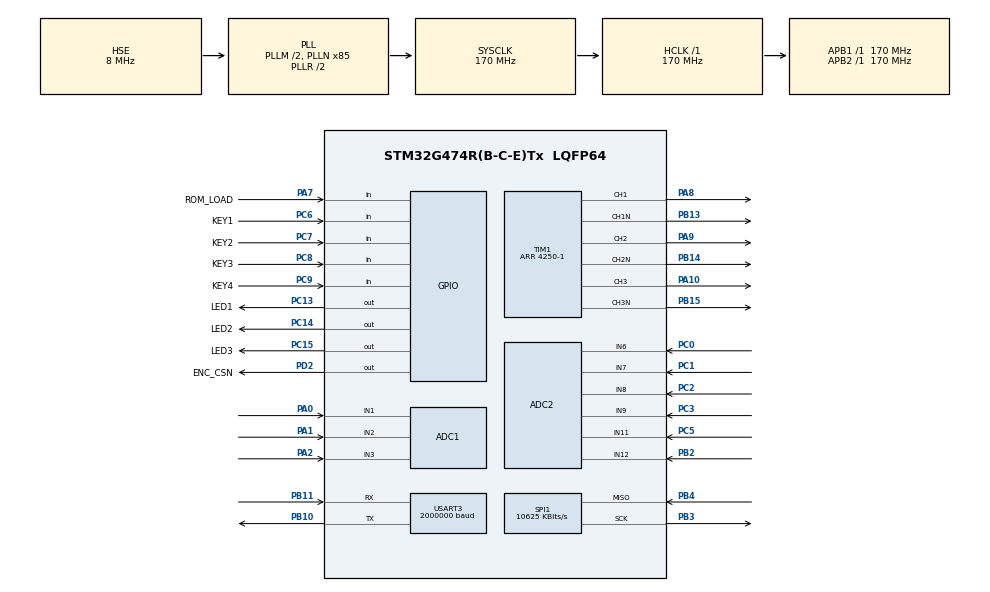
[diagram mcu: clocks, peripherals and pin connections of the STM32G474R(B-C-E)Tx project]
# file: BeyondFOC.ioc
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ADC1.Channel-0\#ChannelRegularConversion=ADC_CHANNEL_1
ADC1.Channel-1\#ChannelRegularConversion=ADC_CHANNEL_2
ADC1.Channel-2\#ChannelRegularConversion=ADC_CHANNEL_3
ADC1.ClockPrescaler=ADC_CLOCK_SYNC_PCLK_DIV4
ADC1.ContinuousConvMode=DISABLE
ADC1.DMAContinuousRequests=ENABLE
ADC1.EOCSelection=ADC_EOC_SINGLE_CONV
ADC1.ExternalTrigConv=ADC_EXTERNALTRIG_T1_TRGO
ADC1.ExternalTrigConvEdge=ADC_EXTERNALTRIGCONVEDGE_RISING
ADC1.EnableInjectedConversion=ENABLE
ADC1.ExternalTrigInjecConv=ADC_INJECTED_SOFTWARE_START
ADC1.ExternalTrigInjecConvEdge=ADC_EXTERNALTRIGINJECCONV_EDGE_NONE
ADC1.InjNumberOfConversion=3
ADC1.InjectedChannel-1\#ChannelInjectedConversion=ADC_CHANNEL_1
ADC1.InjectedChannel-2\#ChannelInjectedConversion=ADC_CHANNEL_2
ADC1.InjectedChannel-3\#ChannelInjectedConversion=ADC_CHANNEL_3
ADC1.InjectedOffsetNumber-1\#ChannelInjectedConversion=ADC_OFFSET_NONE
ADC1.InjectedOffsetNumber-2\#ChannelInjectedConversion=ADC_OFFSET_NONE
ADC1.InjectedOffsetNumber-3\#ChannelInjectedConversion=ADC_OFFSET_NONE
ADC1.InjectedRank-1\#ChannelInjectedConversion=1
ADC1.InjectedRank-2\#ChannelInjectedConversion=2
ADC1.InjectedRank-3\#ChannelInjectedConversion=3
ADC1.InjectedSamplingTime-1\#ChannelInjectedConversion=ADC_SAMPLETIME_24CYCLES_5
ADC1.InjectedSamplingTime-2\#ChannelInjectedConversion=ADC_SAMPLETIME_24CYCLES_5
ADC1.InjectedSamplingTime-3\#ChannelInjectedConversion=ADC_SAMPLETIME_24CYCLES_5
ADC1.Mode=ADC_MODE_INDEPENDENT
ADC1.injectedQueueMode=DISABLE
ADC1.NbrOfConversion=3
ADC1.NbrOfConversionFlag=1
ADC1.OffsetNumber-0\#ChannelRegularConversion=ADC_OFFSET_NONE
ADC1.OffsetNumber-1\#ChannelRegularConversion=ADC_OFFSET_NONE
ADC1.OffsetNumber-2\#ChannelRegularConversion=ADC_OFFSET_NONE
ADC1.Overrun=ADC_OVR_DATA_OVERWRITTEN
ADC1.Rank-0\#ChannelRegularConversion=1
ADC1.Rank-1\#ChannelRegularConversion=2
ADC1.Rank-2\#ChannelRegularConversion=3
ADC1.SamplingTime-0\#ChannelRegularConversion=ADC_SAMPLETIME_6CYCLES_5
ADC1.SamplingTime-1\#ChannelRegularConversion=ADC_SAMPLETIME_6CYCLES_5
ADC1.SamplingTime-2\#ChannelRegularConversion=ADC_SAMPLETIME_6CYCLES_5
ADC1.ScanConvMode=ADC_SCAN_ENABLE
ADC2.Channel-0\#ChannelRegularConversion=ADC_CHANNEL_11
ADC2.Channel-1\#ChannelRegularConversion=ADC_CHANNEL_12
ADC2.Channel-2\#ChannelRegularConversion=ADC_CHANNEL_9
ADC2.Channel-3\#ChannelRegularConversion=ADC_CHANNEL_6
ADC2.Channel-4\#ChannelRegularConversion=ADC_CHANNEL_7
ADC2.Channel-5\#ChannelRegularConversion=ADC_CHANNEL_8
ADC2.ClockPrescaler=ADC_CLOCK_SYNC_PCLK_DIV4
ADC2.NbrOfConversion=6
ADC2.NbrOfConversionFlag=1
ADC2.OffsetNumber-0\#ChannelRegularConversion=ADC_OFFSET_NONE
ADC2.OffsetNumber-1\#ChannelRegularConversion=ADC_OFFSET_NONE
ADC2.OffsetNumber-2\#ChannelRegularConversion=ADC_OFFSET_NONE
ADC2.OffsetNumber-3\#ChannelRegularConversion=ADC_OFFSET_NONE
ADC2.OffsetNumber-4\#ChannelRegularConversion=ADC_OFFSET_NONE
ADC2.OffsetNumber-5\#ChannelRegularConversion=ADC_OFFSET_NONE
ADC2.Rank-0\#ChannelRegularConversion=1
ADC2.Rank-1\#ChannelRegularConversion=2
ADC2.Rank-2\#ChannelRegularConversion=3
ADC2.Rank-3\#ChannelRegularConversion=4
ADC2.Rank-4\#ChannelRegularConversion=5
ADC2.Rank-5\#ChannelRegularConversion=6
ADC2.SamplingTime-0\#ChannelRegularConversion=ADC_SAMPLETIME_47CYCLES_5
ADC2.SamplingTime-1\#ChannelRegularConversion=ADC_SAMPLETIME_47CYCLES_5
ADC2.SamplingTime-2\#ChannelRegularConversion=ADC_SAMPLETIME_47CYCLES_5
ADC2.SamplingTime-3\#ChannelRegularConversion=ADC_SAMPLETIME_47CYCLES_5
ADC2.SamplingTime-4\#ChannelRegularConversion=ADC_SAMPLETIME_47CYCLES_5
ADC2.SamplingTime-5\#ChannelRegularConversion=ADC_SAMPLETIME_47CYCLES_5
ADC2.ScanConvMode=ADC_SCAN_ENABLE
Dma.Request0=SPI1_RX
Dma.Request1=SPI1_TX
Dma.Request2=USART3_RX
Dma.Request3=USART3_TX
Dma.SPI1_RX.0.Direction=DMA_PERIPH_TO_MEMORY
Dma.SPI1_RX.0.EventEnable=DISABLE
Dma.SPI1_RX.0.Instance=DMA1_Channel1
Dma.SPI1_RX.0.MemDataAlignment=DMA_MDATAALIGN_BYTE
Dma.SPI1_RX.0.MemInc=DMA_MINC_ENABLE
Dma.SPI1_RX.0.Mode=DMA_NORMAL
Dma.SPI1_RX.0.PeriphDataAlignment=DMA_PDATAALIGN_BYTE
Dma.SPI1_RX.0.PeriphInc=DMA_PINC_DISABLE
Dma.SPI1_RX.0.Polarity=HAL_DMAMUX_REQ_GEN_RISING
Dma.SPI1_RX.0.Priority=DMA_PRIORITY_HIGH
Dma.SPI1_RX.0.RequestNumber=1
Dma.SPI1_RX.0.SignalID=NONE
Dma.SPI1_RX.0.SyncEnable=DISABLE
Dma.SPI1_RX.0.SyncPolarity=HAL_DMAMUX_SYNC_NO_EVENT
Dma.SPI1_RX.0.SyncRequestNumber=1
Dma.SPI1_RX.0.SyncSignalID=NONE
Dma.SPI1_TX.1.Direction=DMA_MEMORY_TO_PERIPH
Dma.SPI1_TX.1.EventEnable=DISABLE
Dma.SPI1_TX.1.Instance=DMA1_Channel2
Dma.SPI1_TX.1.MemDataAlignment=DMA_MDATAALIGN_BYTE
Dma.SPI1_TX.1.MemInc=DMA_MINC_ENABLE
Dma.SPI1_TX.1.Mode=DMA_NORMAL
Dma.SPI1_TX.1.PeriphDataAlignment=DMA_PDATAALIGN_BYTE
Dma.SPI1_TX.1.PeriphInc=DMA_PINC_DISABLE
Dma.SPI1_TX.1.Polarity=HAL_DMAMUX_REQ_GEN_RISING
Dma.SPI1_TX.1.Priority=DMA_PRIORITY_HIGH
Dma.SPI1_TX.1.RequestNumber=1
Dma.SPI1_TX.1.SignalID=NONE
Dma.SPI1_TX.1.SyncEnable=DISABLE
Dma.SPI1_TX.1.SyncPolarity=HAL_DMAMUX_SYNC_NO_EVENT
Dma.SPI1_TX.1.SyncRequestNumber=1
Dma.SPI1_TX.1.SyncSignalID=NONE
Dma.USART3_RX.2.Direction=DMA_PERIPH_TO_MEMORY
Dma.USART3_RX.2.EventEnable=DISABLE
Dma.USART3_RX.2.Instance=DMA1_Channel3
Dma.USART3_RX.2.MemDataAlignment=DMA_MDATAALIGN_BYTE
Dma.USART3_RX.2.MemInc=DMA_MINC_ENABLE
Dma.USART3_RX.2.Mode=DMA_NORMAL
Dma.USART3_RX.2.PeriphDataAlignment=DMA_PDATAALIGN_BYTE
Dma.USART3_RX.2.PeriphInc=DMA_PINC_DISABLE
Dma.USART3_RX.2.Polarity=HAL_DMAMUX_REQ_GEN_RISING
Dma.USART3_RX.2.Priority=DMA_PRIORITY_HIGH
Dma.USART3_RX.2.RequestNumber=1
Dma.USART3_RX.2.SignalID=NONE
Dma.USART3_RX.2.SyncEnable=DISABLE
Dma.USART3_RX.2.SyncPolarity=HAL_DMAMUX_SYNC_NO_EVENT
Dma.USART3_RX.2.SyncRequestNumber=1
Dma.USART3_RX.2.SyncSignalID=NONE
Dma.USART3_TX.3.Direction=DMA_MEMORY_TO_PERIPH
Dma.USART3_TX.3.EventEnable=DISABLE
Dma.USART3_TX.3.Instance=DMA1_Channel4
Dma.USART3_TX.3.MemDataAlignment=DMA_MDATAALIGN_BYTE
Dma.USART3_TX.3.MemInc=DMA_MINC_ENABLE
Dma.USART3_TX.3.Mode=DMA_NORMAL
Dma.USART3_TX.3.PeriphDataAlignment=DMA_PDATAALIGN_BYTE
Dma.USART3_TX.3.PeriphInc=DMA_PINC_DISABLE
Dma.USART3_TX.3.Polarity=HAL_DMAMUX_REQ_GEN_RISING
Dma.USART3_TX.3.Priority=DMA_PRIORITY_HIGH
Dma.USART3_TX.3.RequestNumber=1
Dma.USART3_TX.3.SignalID=NONE
Dma.USART3_TX.3.SyncEnable=DISABLE
Dma.USART3_TX.3.SyncPolarity=HAL_DMAMUX_SYNC_NO_EVENT
Dma.USART3_TX.3.SyncRequestNumber=1
Dma.USART3_TX.3.SyncSignalID=NONE
FREERTOS.Tasks01=defaultTask,24,128,StartDefaultTask,Default,NULL,Dynamic,NULL,NULL
FREERTOS.configENABLE_FPU=1
Mcu.Family=STM32G4
Mcu.Name=STM32G474R(B-C-E)Tx
Mcu.Package=LQFP64
NVIC.ADC1_2_IRQn=true\:5\:0\:false\:false\:true\:true\:true\:true\:true
NVIC.DMA1_Channel1_IRQn=true\:5\:0\:false\:false\:true\:true\:false\:true\:true
NVIC.DMA1_Channel2_IRQn=true\:5\:0\:false\:false\:true\:true\:false\:true\:true
NVIC.DMA1_Channel3_IRQn=true\:5\:0\:false\:false\:true\:true\:false\:true\:true
NVIC.DMA1_Channel4_IRQn=true\:5\:0\:false\:false\:true\:true\:false\:true\:true
NVIC.PriorityGroup=NVIC_PRIORITYGROUP_4
NVIC.SPI1_IRQn=true\:5\:0\:false\:false\:true\:true\:true\:true\:true
NVIC.TIM1_UP_TIM16_IRQn=true\:5\:0\:false\:false\:true\:true\:true\:true\:true
NVIC.TIM2_IRQn=true\:5\:0\:false\:false\:true\:true\:true\:true\:true
NVIC.TIM8_UP_IRQn=true\:15\:0\:false\:false\:true\:false\:false\:true\:true
NVIC.TimeBase=TIM8_UP_IRQn
NVIC.TimeBaseIP=TIM8
NVIC.USART3_IRQn=true\:5\:0\:false\:false\:true\:true\:false\:true\:true
PA0.Mode=IN1-Single-Ended
PA0.Signal=ADC1_IN1
PA1.Mode=IN2-Single-Ended
PA1.Signal=ADC1_IN2
PA2.Mode=IN3-Single-Ended
PA2.Signal=ADC1_IN3
PA10.Signal=S_TIM1_CH3
PA13.Mode=Serial_Wire
PA13.Signal=SYS_JTMS-SWDIO
PA14.Mode=Serial_Wire
PA14.Signal=SYS_JTCK-SWCLK
PA7.GPIO_Label=ROM_LOAD
PA7.Signal=GPIO_Input
PA8.Signal=S_TIM1_CH1
PA9.Signal=S_TIM1_CH2
PB10.Mode=Asynchronous
PB10.Signal=USART3_TX
PB11.Mode=Asynchronous
PB11.Signal=USART3_RX
PB13.Mode=PWM Generation1 CH1 CH1N
PB13.Signal=TIM1_CH1N
PB14.Mode=PWM Generation2 CH2 CH2N
PB14.Signal=TIM1_CH2N
PB15.Mode=PWM Generation3 CH3 CH3N
PB15.Signal=TIM1_CH3N
PB2.Mode=IN12-Single-Ended
PB2.Signal=ADC2_IN12
PB3.Mode=Full_Duplex_Master
PB3.Signal=SPI1_SCK
PB4.Mode=Full_Duplex_Master
PB4.Signal=SPI1_MISO
PC0.Mode=IN6-Single-Ended
PC0.Signal=ADC2_IN6
PC1.Mode=IN7-Single-Ended
PC1.Signal=ADC2_IN7
PC13.GPIO_Label=LED1
PC13.PinState=GPIO_PIN_RESET
PC13.Signal=GPIO_Output
PC14.GPIO_Label=LED2
PC14.PinState=GPIO_PIN_RESET
PC14.Signal=GPIO_Output
PC15.GPIO_Label=LED3
PC15.PinState=GPIO_PIN_RESET
PC15.Signal=GPIO_Output
PC2.Mode=IN8-Single-Ended
PC2.Signal=ADC2_IN8
PC3.Mode=IN9-Single-Ended
PC3.Signal=ADC2_IN9
PC5.Mode=IN11-Single-Ended
PC5.Signal=ADC2_IN11
PC6.GPIO_Label=KEY1
PC6.Signal=GPIO_Input
PC7.GPIO_Label=KEY2
PC7.Signal=GPIO_Input
PC8.GPIO_Label=KEY3
PC8.Signal=GPIO_Input
PC9.GPIO_Label=KEY4
PC9.Signal=GPIO_Input
PD2.GPIO_Label=ENC_CSN
PD2.PinState=GPIO_PIN_SET
PD2.Signal=GPIO_Output
PF0-OSC_IN.Mode=HSE-External-Oscillator
PF0-OSC_IN.Signal=RCC_OSC_IN
PF1-OSC_OUT.Mode=HSE-External-Oscillator
PF1-OSC_OUT.Signal=RCC_OSC_OUT
ProjectManager.HeapSize=0x200
ProjectManager.StackSize=0x400
ProjectManager.TargetToolchain=CMake
RCC.ADC12Freq_Value=170000000
RCC.ADC345Freq_Value=170000000
RCC.AHBFreq_Value=170000000
RCC.APB1Freq_Value=170000000
RCC.APB1TimFreq_Value=170000000
RCC.APB2Freq_Value=170000000
RCC.APB2TimFreq_Value=170000000
RCC.CortexFreq_Value=170000000
RCC.EXTERNAL_CLOCK_VALUE=12288000
RCC.HCLKFreq_Value=170000000
RCC.HSE_VALUE=8000000
RCC.HSI48_VALUE=48000000
RCC.HSI_VALUE=16000000
RCC.LSE_VALUE=32768
RCC.PLLM=RCC_PLLM_DIV2
RCC.PLLN=85
RCC.PLLSourceVirtual=RCC_PLLSOURCE_HSE
RCC.SYSCLKFreq_VALUE=170000000
RCC.SYSCLKSource=RCC_SYSCLKSOURCE_PLLCLK
RCC.USBFreq_Value=170000000
RCC.VCOOutputFreq_Value=340000000
SH.S_TIM1_CH1.0=TIM1_CH1,PWM Generation1 CH1 CH1N
SH.S_TIM1_CH2.0=TIM1_CH2,PWM Generation2 CH2 CH2N
SH.S_TIM1_CH3.0=TIM1_CH3,PWM Generation3 CH3 CH3N
SPI1.BaudRatePrescaler=SPI_BAUDRATEPRESCALER_16
SPI1.CLKPhase=SPI_PHASE_2EDGE
SPI1.CalculateBaudRate=10625 KBits/s
SPI1.DataSize=SPI_DATASIZE_8BIT
SPI1.Direction=SPI_DIRECTION_2LINES
SPI1.Mode=SPI_MODE_MASTER
SPI1.NSSPMode=SPI_NSS_PULSE_DISABLE
SPI1.VirtualType=VM_MASTER
TIM1.AutoReloadPreload=TIM_AUTORELOAD_PRELOAD_ENABLE
TIM1.Break2State=TIM_BREAK2_DISABLE
TIM1.Channel-PWM\ Generation1\ CH1\ CH1N=TIM_CHANNEL_1
TIM1.Channel-PWM\ Generation2\ CH2\ CH2N=TIM_CHANNEL_2
TIM1.Channel-PWM\ Generation3\ CH3\ CH3N=TIM_CHANNEL_3
TIM1.CounterMode=TIM_COUNTERMODE_CENTERALIGNED1
TIM1.DeadTime=15
TIM1.DeadTimePreload=ENABLE
TIM1.OCMode_PWM-PWM\ Generation1\ CH1\ CH1N=TIM_OCMODE_PWM2
TIM1.OCMode_PWM-PWM\ Generation2\ CH2\ CH2N=TIM_OCMODE_PWM2
TIM1.OCMode_PWM-PWM\ Generation3\ CH3\ CH3N=TIM_OCMODE_PWM2
TIM1.PeriodNoDither=4250-1
TIM1.RepetitionCounter=1
TIM1.TIM_MasterOutputTrigger=TIM_TRGO_OC4REF
TIM1.TIM_MasterSlaveMode=TIM_MASTERSLAVEMODE_DISABLE
TIM2.AutoReloadPreload=TIM_AUTORELOAD_PRELOAD_ENABLE
TIM2.CounterMode=TIM_COUNTERMODE_UP
TIM2.Period=999
TIM2.Prescaler=169
USART3.BaudRate=2000000
USART3.VirtualMode-Asynchronous=VM_ASYNC
VP_CORDIC_VS_CORDIC.Mode=CORDIC_Activate
VP_FREERTOS_VS_CMSIS_V2.Mode=CMSIS_V2
VP_SYS_VS_DBSignals.Mode=DisableDeadBatterySignals
VP_SYS_VS_tim8.Mode=TIM8
VP_TIM2_VS_ClockSourceINT.Mode=Internal
board=custom

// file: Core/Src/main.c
/* USER CODE BEGIN Header */
/**
  ******************************************************************************
  * @file           : main.c
  * @brief          : Main program body
  ******************************************************************************
  * @attention
  *
  * Copyright (c) 2026 STMicroelectronics.
  * All rights reserved.
  *
  * This software is licensed under terms that can be found in the LICENSE file
  * in the root directory of this software component.
  * If no LICENSE file comes with this software, it is provided AS-IS.
  *
  ******************************************************************************
  */
/* USER CODE END Header */
#include "main.h"
#include "cmsis_os.h"

/* USER CODE BEGIN Includes */
#include "app.h"
#include "RC_tim.h"
/* USER CODE END Includes */

ADC_HandleTypeDef hadc1;
ADC_HandleTypeDef hadc2;

CORDIC_HandleTypeDef hcordic;

SPI_HandleTypeDef hspi1;
DMA_HandleTypeDef hdma_spi1_rx;
DMA_HandleTypeDef hdma_spi1_tx;

TIM_HandleTypeDef htim1;
TIM_HandleTypeDef htim2;

UART_HandleTypeDef huart3;
DMA_HandleTypeDef hdma_usart3_rx;
DMA_HandleTypeDef hdma_usart3_tx;

/* Definitions for defaultTask */
osThreadId_t defaultTaskHandle;
const osThreadAttr_t defaultTask_attributes = {
  .name = "defaultTask",
  .priority = (osPriority_t) osPriorityNormal,
  .stack_size = 512 * 4
};

void SystemClock_Config(void);
static void MX_GPIO_Init(void);
static void MX_DMA_Init(void);
static void MX_ADC1_Init(void);
static void MX_ADC2_Init(void);
static void MX_CORDIC_Init(void);
static void MX_SPI1_Init(void);
static void MX_TIM1_Init(void);
static void MX_TIM2_Init(void);
static void MX_USART3_UART_Init(void);
void StartDefaultTask(void *argument);

int main(void)
{

  /* MCU Configuration--------------------------------------------------------*/

  /* Reset of all peripherals, Initializes the Flash interface and the Systick. */
  HAL_Init();

  /* Configure the system clock */
  SystemClock_Config();

  /* Initialize all configured peripherals */
  MX_GPIO_Init();
  MX_DMA_Init();
  MX_ADC1_Init();
  MX_ADC2_Init();
  MX_CORDIC_Init();
  MX_SPI1_Init();
  MX_TIM1_Init();
  MX_TIM2_Init();
  MX_USART3_UART_Init();
  /* USER CODE BEGIN 2 */
  /* 外设和模块初始化。
   * 启动信标移到调度器启动后的 StartDefaultTask，用 osDelay 实现，
   * main() 里不再使用 HAL_Delay / 忙等延时。 */
  All_Init();
  /* USER CODE END 2 */

  /* Init scheduler */
  osKernelInitialize();

  /* Create the thread(s) */
  /* creation of defaultTask */
  defaultTaskHandle = osThreadNew(StartDefaultTask, NULL, &defaultTask_attributes);

  /* USER CODE BEGIN RTOS_THREADS */
  /* 应用任务必须在 osKernelInitialize() 之后创建 */
  App_Start();
  /* USER CODE END RTOS_THREADS */

  /* Start scheduler */
  osKernelStart();

  /* We should never get here as control is now taken by the scheduler */

  /* Infinite loop */
  while (1)
  {

  }
}

void SystemClock_Config(void)
{
  RCC_OscInitTypeDef RCC_OscInitStruct = {0};
  RCC_ClkInitTypeDef RCC_ClkInitStruct = {0};

  /** Configure the main internal regulator output voltage
  */
  HAL_PWREx_ControlVoltageScaling(PWR_REGULATOR_VOLTAGE_SCALE1_BOOST);

  /** Initializes the RCC Oscillators according to the specified parameters
  * in the RCC_OscInitTypeDef structure.
  */
  RCC_OscInitStruct.OscillatorType = RCC_OSCILLATORTYPE_HSE;
  RCC_OscInitStruct.HSEState = RCC_HSE_ON;
  RCC_OscInitStruct.PLL.PLLState = RCC_PLL_ON;
  RCC_OscInitStruct.PLL.PLLSource = RCC_PLLSOURCE_HSE;
  RCC_OscInitStruct.PLL.PLLM = RCC_PLLM_DIV2;
  RCC_OscInitStruct.PLL.PLLN = 85;
  RCC_OscInitStruct.PLL.PLLP = RCC_PLLP_DIV2;
  RCC_OscInitStruct.PLL.PLLQ = RCC_PLLQ_DIV2;
  RCC_OscInitStruct.PLL.PLLR = RCC_PLLR_DIV2;
  if (HAL_RCC_OscConfig(&RCC_OscInitStruct) != HAL_OK)
  {
    Error_Handler();
  }

  /** Initializes the CPU, AHB and APB buses clocks
  */
  RCC_ClkInitStruct.ClockType = RCC_CLOCKTYPE_HCLK|RCC_CLOCKTYPE_SYSCLK
                              |RCC_CLOCKTYPE_PCLK1|RCC_CLOCKTYPE_PCLK2;
  RCC_ClkInitStruct.SYSCLKSource = RCC_SYSCLKSOURCE_PLLCLK;
  RCC_ClkInitStruct.AHBCLKDivider = RCC_SYSCLK_DIV1;
  RCC_ClkInitStruct.APB1CLKDivider = RCC_HCLK_DIV1;
  RCC_ClkInitStruct.APB2CLKDivider = RCC_HCLK_DIV1;

  if (HAL_RCC_ClockConfig(&RCC_ClkInitStruct, FLASH_LATENCY_4) != HAL_OK)
  {
    Error_Handler();
  }
}

static void MX_ADC1_Init(void)
{

  ADC_MultiModeTypeDef multimode = {0};
  ADC_ChannelConfTypeDef sConfig = {0};
  ADC_InjectionConfTypeDef sConfigInjected = {0};

  /** Common config
  */
  hadc1.Instance = ADC1;
  hadc1.Init.ClockPrescaler = ADC_CLOCK_SYNC_PCLK_DIV4;
  hadc1.Init.Resolution = ADC_RESOLUTION_12B;
  hadc1.Init.DataAlign = ADC_DATAALIGN_RIGHT;
  hadc1.Init.GainCompensation = 0;
  hadc1.Init.ScanConvMode = ADC_SCAN_ENABLE;
  hadc1.Init.EOCSelection = ADC_EOC_SINGLE_CONV;
  hadc1.Init.LowPowerAutoWait = DISABLE;
  hadc1.Init.ContinuousConvMode = DISABLE;
  hadc1.Init.NbrOfConversion = 3;
  hadc1.Init.DiscontinuousConvMode = DISABLE;
  hadc1.Init.ExternalTrigConv = ADC_EXTERNALTRIG_T1_TRGO;
  hadc1.Init.ExternalTrigConvEdge = ADC_EXTERNALTRIGCONVEDGE_RISING;
  hadc1.Init.DMAContinuousRequests = ENABLE;
  hadc1.Init.Overrun = ADC_OVR_DATA_OVERWRITTEN;
  hadc1.Init.OversamplingMode = DISABLE;
  if (HAL_ADC_Init(&hadc1) != HAL_OK)
  {
    Error_Handler();
  }

  /** Configure the ADC multi-mode
  */
  multimode.Mode = ADC_MODE_INDEPENDENT;
  if (HAL_ADCEx_MultiModeConfigChannel(&hadc1, &multimode) != HAL_OK)
  {
    Error_Handler();
  }

  /** Configure Regular Channels: 三电阻低边采样
  * rank1 PA0 / ADC1_IN1 = IC
  * rank2 PA1 / ADC1_IN2 = IB
  * rank3 PA2 / ADC1_IN3 = IA
  */
  sConfig.SamplingTime = ADC_SAMPLETIME_6CYCLES_5;
  sConfig.SingleDiff = ADC_SINGLE_ENDED;
  sConfig.OffsetNumber = ADC_OFFSET_NONE;
  sConfig.Offset = 0;

  sConfig.Channel = ADC_CHANNEL_1;
  sConfig.Rank = ADC_REGULAR_RANK_1;
  if (HAL_ADC_ConfigChannel(&hadc1, &sConfig) != HAL_OK)
  {
    Error_Handler();
  }

  sConfig.Channel = ADC_CHANNEL_2;
  sConfig.Rank = ADC_REGULAR_RANK_2;
  if (HAL_ADC_ConfigChannel(&hadc1, &sConfig) != HAL_OK)
  {
    Error_Handler();
  }

  sConfig.Channel = ADC_CHANNEL_3;
  sConfig.Rank = ADC_REGULAR_RANK_3;
  if (HAL_ADC_ConfigChannel(&hadc1, &sConfig) != HAL_OK)
  {
    Error_Handler();
  }

  /** Configure Injected Channels: 三电阻低边采样
  * rank1 PA0 / ADC1_IN1 = IC
  * rank2 PA1 / ADC1_IN2 = IB
  * rank3 PA2 / ADC1_IN3 = IA
  * 硬件触发：TIM1 TRGO(=OC4REF) 上升沿，采样点 = CNT=0 后 ~1.2µs（零矢量窗口内）
  *
  * 采样时间 24.5 周期：42.5MHz 下窗口 0.576µs，单通道 37 周期 = 0.871µs，
  * 三通道 2.61µs。比 47.5 周期（三通道 4.24µs）短 1.6µs，低边窗口要求
  * 从 ~21% 占空比降到 ~14%，高调制时电流采样不容易采到低边关断之后。
  * 如果实测电流噪声变大，说明运放还没建立完，再退回 47.5 周期。
  */
  sConfigInjected.InjectedSamplingTime = ADC_SAMPLETIME_24CYCLES_5;
  sConfigInjected.InjectedSingleDiff = ADC_SINGLE_ENDED;
  sConfigInjected.InjectedOffsetNumber = ADC_OFFSET_NONE;
  sConfigInjected.InjectedOffset = 0;
  sConfigInjected.InjectedNbrOfConversion = 3;
  sConfigInjected.InjectedDiscontinuousConvMode = DISABLE;
  sConfigInjected.AutoInjectedConv = DISABLE;
  sConfigInjected.QueueInjectedContext = DISABLE;
  sConfigInjected.ExternalTrigInjecConv = ADC_EXTERNALTRIGINJEC_T1_TRGO;
  sConfigInjected.ExternalTrigInjecConvEdge = ADC_EXTERNALTRIGINJECCONV_EDGE_RISING;
  sConfigInjected.InjecOversamplingMode = DISABLE;

  sConfigInjected.InjectedChannel = ADC_CHANNEL_1;
  sConfigInjected.InjectedRank = ADC_INJECTED_RANK_1;
  if (HAL_ADCEx_InjectedConfigChannel(&hadc1, &sConfigInjected) != HAL_OK)
  {
    Error_Handler();
  }

  sConfigInjected.InjectedChannel = ADC_CHANNEL_2;
  sConfigInjected.InjectedRank = ADC_INJECTED_RANK_2;
  if (HAL_ADCEx_InjectedConfigChannel(&hadc1, &sConfigInjected) != HAL_OK)
  {
    Error_Handler();
  }

  sConfigInjected.InjectedChannel = ADC_CHANNEL_3;
  sConfigInjected.InjectedRank = ADC_INJECTED_RANK_3;
  if (HAL_ADCEx_InjectedConfigChannel(&hadc1, &sConfigInjected) != HAL_OK)
  {
    Error_Handler();
  }

  // 硬件触发（JEXTSEL=TIM1_TRGO）下队列不用关；留着 JQDIS=1 也无害，
  // 但 HAL 硬件触发启动注入组不需要它，跳过软件队列检查
  /* 硬件触发无需 DisableInjectedQueue，保留原调用以兼容 */

}

static void MX_ADC2_Init(void)
{

  ADC_ChannelConfTypeDef sConfig = {0};

  /** Common config
  * ADC2 专门采慢速模拟量（母线电压 / 两路 NTC / 三相电压），软件触发、扫描、轮询读取
  */
  hadc2.Instance = ADC2;
  hadc2.Init.ClockPrescaler = ADC_CLOCK_SYNC_PCLK_DIV4;
  hadc2.Init.Resolution = ADC_RESOLUTION_12B;
  hadc2.Init.DataAlign = ADC_DATAALIGN_RIGHT;
  hadc2.Init.GainCompensation = 0;
  hadc2.Init.ScanConvMode = ADC_SCAN_ENABLE;
  hadc2.Init.EOCSelection = ADC_EOC_SINGLE_CONV;
  hadc2.Init.LowPowerAutoWait = DISABLE;
  hadc2.Init.ContinuousConvMode = DISABLE;
  hadc2.Init.NbrOfConversion = 6;
  hadc2.Init.DiscontinuousConvMode = DISABLE;
  hadc2.Init.ExternalTrigConv = ADC_SOFTWARE_START;
  hadc2.Init.ExternalTrigConvEdge = ADC_EXTERNALTRIGCONVEDGE_NONE;
  hadc2.Init.DMAContinuousRequests = DISABLE;
  hadc2.Init.Overrun = ADC_OVR_DATA_PRESERVED;
  hadc2.Init.OversamplingMode = DISABLE;
  if (HAL_ADC_Init(&hadc2) != HAL_OK)
  {
    Error_Handler();
  }

  /** Configure Regular Channels
  * rank1 PC5 ADC2_IN11 = VBUS
  * rank2 PB2 ADC2_IN12 = DRV_NTC
  * rank3 PC3 ADC2_IN9  = MOTOR_NTC
  * rank4 PC0 ADC2_IN6  = VA
  * rank5 PC1 ADC2_IN7  = VB
  * rank6 PC2 ADC2_IN8  = VC
  */
  sConfig.SamplingTime = ADC_SAMPLETIME_47CYCLES_5;
  sConfig.SingleDiff = ADC_SINGLE_ENDED;
  sConfig.OffsetNumber = ADC_OFFSET_NONE;
  sConfig.Offset = 0;

  sConfig.Channel = ADC_CHANNEL_11;
  sConfig.Rank = ADC_REGULAR_RANK_1;
  if (HAL_ADC_ConfigChannel(&hadc2, &sConfig) != HAL_OK)
  {
    Error_Handler();
  }

  sConfig.Channel = ADC_CHANNEL_12;
  sConfig.Rank = ADC_REGULAR_RANK_2;
  if (HAL_ADC_ConfigChannel(&hadc2, &sConfig) != HAL_OK)
  {
    Error_Handler();
  }

  sConfig.Channel = ADC_CHANNEL_9;
  sConfig.Rank = ADC_REGULAR_RANK_3;
  if (HAL_ADC_ConfigChannel(&hadc2, &sConfig) != HAL_OK)
  {
    Error_Handler();
  }

  sConfig.Channel = ADC_CHANNEL_6;
  sConfig.Rank = ADC_REGULAR_RANK_4;
  if (HAL_ADC_ConfigChannel(&hadc2, &sConfig) != HAL_OK)
  {
    Error_Handler();
  }

  sConfig.Channel = ADC_CHANNEL_7;
  sConfig.Rank = ADC_REGULAR_RANK_5;
  if (HAL_ADC_ConfigChannel(&hadc2, &sConfig) != HAL_OK)
  {
    Error_Handler();
  }

  sConfig.Channel = ADC_CHANNEL_8;
  sConfig.Rank = ADC_REGULAR_RANK_6;
  if (HAL_ADC_ConfigChannel(&hadc2, &sConfig) != HAL_OK)
  {
    Error_Handler();
  }

}

static void MX_CORDIC_Init(void)
{

  hcordic.Instance = CORDIC;
  if (HAL_CORDIC_Init(&hcordic) != HAL_OK)
  {
    Error_Handler();
  }

}

static void MX_SPI1_Init(void)
{

  /* SPI1 parameter configuration*/
  hspi1.Instance = SPI1;
  hspi1.Init.Mode = SPI_MODE_MASTER;
  hspi1.Init.Direction = SPI_DIRECTION_2LINES;
  hspi1.Init.DataSize = SPI_DATASIZE_8BIT;
  hspi1.Init.CLKPolarity = SPI_POLARITY_LOW;
  hspi1.Init.CLKPhase = SPI_PHASE_2EDGE;
  hspi1.Init.NSS = SPI_NSS_SOFT;
  hspi1.Init.BaudRatePrescaler = SPI_BAUDRATEPRESCALER_16;
  hspi1.Init.FirstBit = SPI_FIRSTBIT_MSB;
  hspi1.Init.TIMode = SPI_TIMODE_DISABLE;
  hspi1.Init.CRCCalculation = SPI_CRCCALCULATION_DISABLE;
  hspi1.Init.CRCPolynomial = 7;
  hspi1.Init.CRCLength = SPI_CRC_LENGTH_DATASIZE;
  hspi1.Init.NSSPMode = SPI_NSS_PULSE_DISABLE;
  if (HAL_SPI_Init(&hspi1) != HAL_OK)
  {
    Error_Handler();
  }

}

static void MX_TIM1_Init(void)
{

  TIM_MasterConfigTypeDef sMasterConfig = {0};
  TIM_OC_InitTypeDef sConfigOC = {0};
  TIM_BreakDeadTimeConfigTypeDef sBreakDeadTimeConfig = {0};

  htim1.Instance = TIM1;
  htim1.Init.Prescaler = 0;
  htim1.Init.CounterMode = TIM_COUNTERMODE_CENTERALIGNED1;
  htim1.Init.Period = 4249;		/* 中央对齐 20kHz */
  htim1.Init.ClockDivision = TIM_CLOCKDIVISION_DIV1;
  htim1.Init.RepetitionCounter = 1;		/* 中央对齐：每 2 个半周期 1 次 UEV（20kHz），落在 CNT=0 零矢量窗口 */
  htim1.Init.AutoReloadPreload = TIM_AUTORELOAD_PRELOAD_ENABLE;
  if (HAL_TIM_PWM_Init(&htim1) != HAL_OK)
  {
    Error_Handler();
  }
  sMasterConfig.MasterOutputTrigger = TIM_TRGO_OC4REF;		/* 备用 ADC 硬件触发（当前注入组用软件启动） */
  sMasterConfig.MasterOutputTrigger2 = TIM_TRGO2_RESET;
  sMasterConfig.MasterSlaveMode = TIM_MASTERSLAVEMODE_DISABLE;
  if (HAL_TIMEx_MasterConfigSynchronization(&htim1, &sMasterConfig) != HAL_OK)
  {
    Error_Handler();
  }
  sConfigOC.OCMode = TIM_OCMODE_PWM2;
  sConfigOC.Pulse = 0;
  sConfigOC.OCPolarity = TIM_OCPOLARITY_HIGH;
  sConfigOC.OCNPolarity = TIM_OCNPOLARITY_HIGH;
  sConfigOC.OCFastMode = TIM_OCFAST_DISABLE;
  sConfigOC.OCIdleState = TIM_OCIDLESTATE_RESET;
  sConfigOC.OCNIdleState = TIM_OCNIDLESTATE_RESET;
  if (HAL_TIM_PWM_ConfigChannel(&htim1, &sConfigOC, TIM_CHANNEL_1) != HAL_OK)
  {
    Error_Handler();
  }
  if (HAL_TIM_PWM_ConfigChannel(&htim1, &sConfigOC, TIM_CHANNEL_2) != HAL_OK)
  {
    Error_Handler();
  }
  if (HAL_TIM_PWM_ConfigChannel(&htim1, &sConfigOC, TIM_CHANNEL_3) != HAL_OK)
  {
    Error_Handler();
  }
  HAL_TIMEx_EnableDeadTimePreload(&htim1);
  sBreakDeadTimeConfig.OffStateRunMode = TIM_OSSR_DISABLE;
  sBreakDeadTimeConfig.OffStateIDLEMode = TIM_OSSI_DISABLE;
  sBreakDeadTimeConfig.LockLevel = TIM_LOCKLEVEL_OFF;
  sBreakDeadTimeConfig.DeadTime = 15;
  sBreakDeadTimeConfig.BreakState = TIM_BREAK_DISABLE;
  sBreakDeadTimeConfig.BreakPolarity = TIM_BREAKPOLARITY_HIGH;
  sBreakDeadTimeConfig.BreakFilter = 0;
  sBreakDeadTimeConfig.BreakAFMode = TIM_BREAK_AFMODE_INPUT;
  sBreakDeadTimeConfig.Break2State = TIM_BREAK2_DISABLE;
  sBreakDeadTimeConfig.Break2Polarity = TIM_BREAK2POLARITY_HIGH;
  sBreakDeadTimeConfig.Break2Filter = 0;
  sBreakDeadTimeConfig.Break2AFMode = TIM_BREAK_AFMODE_INPUT;
  sBreakDeadTimeConfig.AutomaticOutput = TIM_AUTOMATICOUTPUT_DISABLE;
  if (HAL_TIMEx_ConfigBreakDeadTime(&htim1, &sBreakDeadTimeConfig) != HAL_OK)
  {
    Error_Handler();
  }
  HAL_TIM_MspPostInit(&htim1);

}

static void MX_TIM2_Init(void)
{

  TIM_ClockConfigTypeDef sClockSourceConfig = {0};
  TIM_MasterConfigTypeDef sMasterConfig = {0};

  htim2.Instance = TIM2;
  htim2.Init.Prescaler = 169;
  htim2.Init.CounterMode = TIM_COUNTERMODE_UP;
  htim2.Init.Period = 999;
  htim2.Init.ClockDivision = TIM_CLOCKDIVISION_DIV1;
  htim2.Init.AutoReloadPreload = TIM_AUTORELOAD_PRELOAD_ENABLE;
  if (HAL_TIM_Base_Init(&htim2) != HAL_OK)
  {
    Error_Handler();
  }
  sClockSourceConfig.ClockSource = TIM_CLOCKSOURCE_INTERNAL;
  if (HAL_TIM_ConfigClockSource(&htim2, &sClockSourceConfig) != HAL_OK)
  {
    Error_Handler();
  }
  sMasterConfig.MasterOutputTrigger = TIM_TRGO_RESET;
  sMasterConfig.MasterSlaveMode = TIM_MASTERSLAVEMODE_DISABLE;
  if (HAL_TIMEx_MasterConfigSynchronization(&htim2, &sMasterConfig) != HAL_OK)
  {
    Error_Handler();
  }
  /* TIM2 interrupt Init */
  HAL_NVIC_SetPriority(TIM2_IRQn, 5, 0);
  HAL_NVIC_EnableIRQ(TIM2_IRQn);

}

static void MX_USART3_UART_Init(void)
{

  huart3.Instance = USART3;
  huart3.Init.BaudRate = 2000000;
  huart3.Init.WordLength = UART_WORDLENGTH_8B;
  huart3.Init.StopBits = UART_STOPBITS_1;
  huart3.Init.Parity = UART_PARITY_NONE;
  huart3.Init.Mode = UART_MODE_TX_RX;
  huart3.Init.HwFlowCtl = UART_HWCONTROL_NONE;
  huart3.Init.OverSampling = UART_OVERSAMPLING_16;
  huart3.Init.OneBitSampling = UART_ONE_BIT_SAMPLE_DISABLE;
  huart3.Init.ClockPrescaler = UART_PRESCALER_DIV1;
  huart3.AdvancedInit.AdvFeatureInit = UART_ADVFEATURE_NO_INIT;
  if (HAL_UART_Init(&huart3) != HAL_OK)
  {
    Error_Handler();
  }
  if (HAL_UARTEx_SetTxFifoThreshold(&huart3, UART_TXFIFO_THRESHOLD_1_8) != HAL_OK)
  {
    Error_Handler();
  }
  if (HAL_UARTEx_SetRxFifoThreshold(&huart3, UART_RXFIFO_THRESHOLD_1_8) != HAL_OK)
  {
    Error_Handler();
  }
  if (HAL_UARTEx_DisableFifoMode(&huart3) != HAL_OK)
  {
    Error_Handler();
  }

}

static void MX_DMA_Init(void)
{

  /* DMA controller clock enable */
  __HAL_RCC_DMAMUX1_CLK_ENABLE();
  __HAL_RCC_DMA1_CLK_ENABLE();

  /* DMA interrupt init */
  /* DMA1_Channel1_IRQn interrupt configuration */
  HAL_NVIC_SetPriority(DMA1_Channel1_IRQn, 5, 0);
  HAL_NVIC_EnableIRQ(DMA1_Channel1_IRQn);
  /* DMA1_Channel2_IRQn interrupt configuration */
  HAL_NVIC_SetPriority(DMA1_Channel2_IRQn, 5, 0);
  HAL_NVIC_EnableIRQ(DMA1_Channel2_IRQn);
  /* DMA1_Channel3_IRQn interrupt configuration */
  HAL_NVIC_SetPriority(DMA1_Channel3_IRQn, 5, 0);
  HAL_NVIC_EnableIRQ(DMA1_Channel3_IRQn);
  /* DMA1_Channel4_IRQn interrupt configuration */
  HAL_NVIC_SetPriority(DMA1_Channel4_IRQn, 5, 0);
  HAL_NVIC_EnableIRQ(DMA1_Channel4_IRQn);

}

static void MX_GPIO_Init(void)
{
  GPIO_InitTypeDef GPIO_InitStruct = {0};

  /* GPIO Ports Clock Enable */
  __HAL_RCC_GPIOF_CLK_ENABLE();
  __HAL_RCC_GPIOA_CLK_ENABLE();
  __HAL_RCC_GPIOB_CLK_ENABLE();
  __HAL_RCC_GPIOC_CLK_ENABLE();
  __HAL_RCC_GPIOD_CLK_ENABLE();

  /*Configure GPIO pin Output Level */
  HAL_GPIO_WritePin(GPIOC, LED1_Pin|LED2_Pin|LED3_Pin, GPIO_PIN_RESET);

  /*Configure GPIO pin Output Level */
  HAL_GPIO_WritePin(ENC_CSN_GPIO_Port, ENC_CSN_Pin, GPIO_PIN_SET);

  /*Configure GPIO pins : KEY1_Pin KEY2_Pin KEY3_Pin KEY4_Pin */
  GPIO_InitStruct.Pin = KEY1_Pin|KEY2_Pin|KEY3_Pin|KEY4_Pin;
  GPIO_InitStruct.Mode = GPIO_MODE_INPUT;
  GPIO_InitStruct.Pull = GPIO_NOPULL;
  HAL_GPIO_Init(GPIOC, &GPIO_InitStruct);

  /*Configure GPIO pin : ROM_LOAD_Pin */
  GPIO_InitStruct.Pin = ROM_LOAD_Pin;
  GPIO_InitStruct.Mode = GPIO_MODE_INPUT;
  GPIO_InitStruct.Pull = GPIO_NOPULL;
  HAL_GPIO_Init(ROM_LOAD_GPIO_Port, &GPIO_InitStruct);

  /*Configure GPIO pins : LED1_Pin LED2_Pin LED3_Pin */
  GPIO_InitStruct.Pin = LED1_Pin|LED2_Pin|LED3_Pin;
  GPIO_InitStruct.Mode = GPIO_MODE_OUTPUT_PP;
  GPIO_InitStruct.Pull = GPIO_NOPULL;
  GPIO_InitStruct.Speed = GPIO_SPEED_FREQ_LOW;
  HAL_GPIO_Init(GPIOC, &GPIO_InitStruct);

  /*Configure GPIO pin : ENC_CSN_Pin */
  GPIO_InitStruct.Pin = ENC_CSN_Pin;
  GPIO_InitStruct.Mode = GPIO_MODE_OUTPUT_PP;
  GPIO_InitStruct.Pull = GPIO_PULLUP;		/* 复位期间保持传感器不被选中 */
  GPIO_InitStruct.Speed = GPIO_SPEED_FREQ_HIGH;
  HAL_GPIO_Init(ENC_CSN_GPIO_Port, &GPIO_InitStruct);

}

void StartDefaultTask(void *argument)
{
  /* USER CODE BEGIN 5 */
  /* 启动完成信标：3 次快闪 + 2 次快闪。
   * osDelay 的单位是 tick（configTICK_RATE_HZ = 4kHz），
   * 按毫秒等待要用 pdMS_TO_TICKS() 转换。 */
  for (int i = 0; i < 3; i++)
  {
    HAL_GPIO_WritePin(GPIOC, GPIO_PIN_13|GPIO_PIN_14|GPIO_PIN_15, GPIO_PIN_SET);
    osDelay(pdMS_TO_TICKS(60));
    HAL_GPIO_WritePin(GPIOC, GPIO_PIN_13|GPIO_PIN_14|GPIO_PIN_15, GPIO_PIN_RESET);
    osDelay(pdMS_TO_TICKS(60));
  }

  osDelay(pdMS_TO_TICKS(200));

  for (int i = 0; i < 2; i++)
  {
    HAL_GPIO_WritePin(GPIOC, GPIO_PIN_13|GPIO_PIN_14|GPIO_PIN_15, GPIO_PIN_SET);
    osDelay(pdMS_TO_TICKS(60));
    HAL_GPIO_WritePin(GPIOC, GPIO_PIN_13|GPIO_PIN_14|GPIO_PIN_15, GPIO_PIN_RESET);
    osDelay(pdMS_TO_TICKS(60));
  }

  /* 串口收发已经由 comms 任务处理，这里保持空闲 */
  for(;;)
  {
    osDelay(pdMS_TO_TICKS(1000));
  }
  /* USER CODE END 5 */
}

void HAL_TIM_PeriodElapsedCallback(TIM_HandleTypeDef *htim)
{
  if (htim->Instance == TIM8)
  {
    HAL_IncTick();
  }
  /* USER CODE BEGIN Callback 1 */
  /* TIM1 更新中断：ADC 注入组已改为硬件触发（TRGO=OC4REF），
     这里不再软件启动转换，更新中断本身也不再需要 */

  /* 1kHz 定时器：统一交给 tim 框架分发（时间戳 / 开环强拖都挂在这里） */
  if (htim->Instance == TIM2)
  {
    All_Tim_It_Process(htim);
  }
  /* USER CODE END Callback 1 */
}

void Error_Handler(void)
{
  __disable_irq();
  while (1)
  {
  }
}
